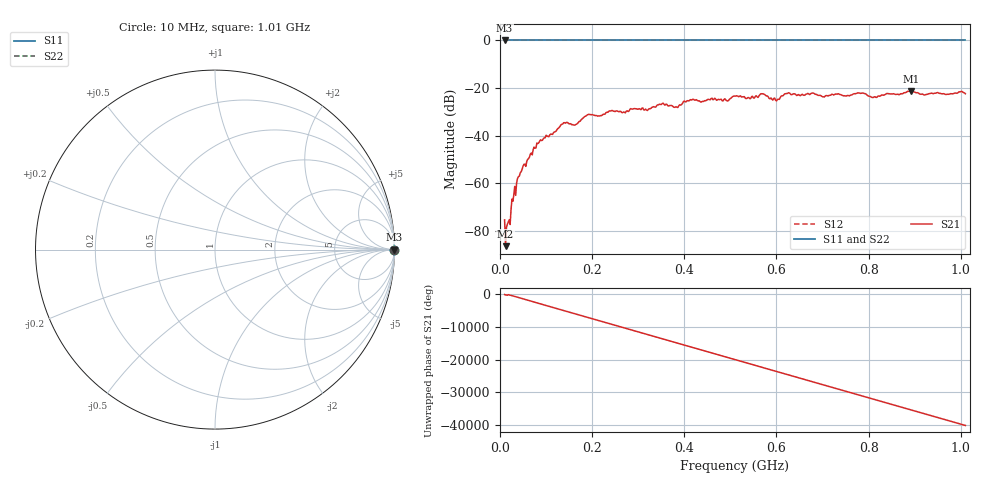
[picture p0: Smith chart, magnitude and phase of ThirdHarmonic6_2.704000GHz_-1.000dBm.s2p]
! 8/17/2025 6:29:43 AM
! C:\ANRITSUVNA\TEMP\TEMP.S2P
! CHANNEL.1
! TR.MEASUREMENT
! RAW.DATA
! RF.CORRECTION.OFF
! AVERAGING.OFF
! IF.BANDWIDTH: 5KHZ
! SWEEPTYPE:  FREQ.SWEEP(Linear)
! Reference Plane Port Info
! PORT:  PORT1  PORT2
! DISTANCE:  0  m  0  m
! TIME:  0  s  0  s
! PHASE.OFFSET:  0  deg.  0  deg.
! LOSS:  0  dB  0  dB
! REF.LOSS:  0  dB  0  dB
! REF.FREQ:  0  Hz  0  Hz
! Power Info
! POWER:  -20  dBm  -20  dBm
! EFF.POWER:  -20  dBm  -20  dBm
! SOURCE.ATTEN:  0  dB  0  dB
! TEST.ATTEN:  0  dB  0  dB
# GHZ S RI R 50.0
! FREQ.GHZ  S11RE  S11IM  S21RE  S21IM  S12RE  S12IM  S22RE  S22IM
!; PortSelection: Port_12
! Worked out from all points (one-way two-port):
!   501 points, 10 MHz to 1.01 GHz, reference 50 ohm
!   highest |S21| = -21.26 dB at 892 MHz (marker M1); lowest = -86.4 dB at 12 MHz (marker M2)
!   lowest |S11| = 0.0 dB at 10 MHz (marker M3)
!   |S11| at or under -10 dB: nowhere
!   |S22| runs from 0.0 to 0.0 dB; largest |S21 - S12| = 1.1
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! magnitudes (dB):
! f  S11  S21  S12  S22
! 10 MHz  0.0  -75.3  0.0  0.0
! 12 MHz  0.0  -86.4  0.0  0.0
! 18 MHz  0.0  -76.2  0.0  0.0
! 28 MHz  0.0  -67.5  0.0  0.0
! 40 MHz  0.0  -57.2  0.0  0.0
! 76 MHz  0.0  -45.2  0.0  0.0
! 136 MHz  0.0  -35.1  0.0  0.0
! 164 MHz  0.0  -35.3  0.0  0.0
! 178 MHz  0.0  -32.9  0.0  0.0
! 344 MHz  0.0  -27.0  0.0  0.0
! 382 MHz  0.0  -27.8  0.0  0.0
! 416 MHz  0.0  -25.0  0.0  0.0
! 494 MHz  0.0  -25.4  0.0  0.0
! 510 MHz  0.0  -23.4  0.0  0.0
! 570 MHz  0.0  -22.4  0.0  0.0
! 602 MHz  0.0  -24.8  0.0  0.0
! 624 MHz  0.0  -22.2  0.0  0.0
! 678 MHz  0.0  -22.1  0.0  0.0
! 812 MHz  0.0  -23.7  0.0  0.0
! 844 MHz  0.0  -22.4  0.0  0.0
! 892 MHz  0.0  -21.3  0.0  0.0
! 1.01 GHz  0.0  -22.4  0.0  0.0
